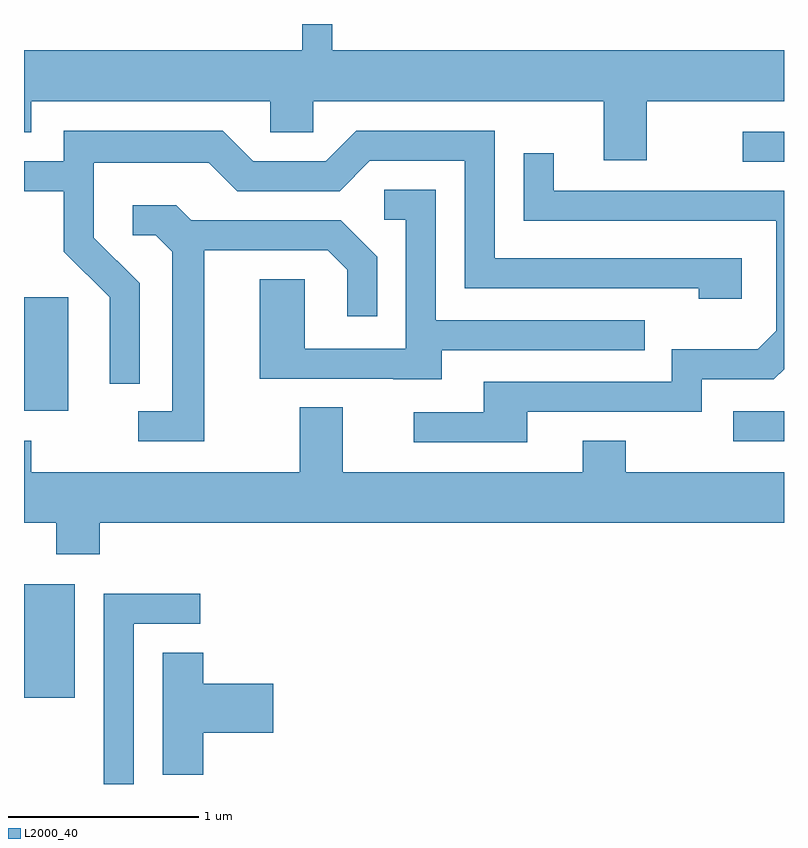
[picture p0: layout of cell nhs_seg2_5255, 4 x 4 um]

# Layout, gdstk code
import gdstk
lib = gdstk.Library(unit=1e-6, precision=1e-09)
def R(c, l, rs):  # rectangles x0, y0, x1, y1
    for r in rs: c.add(gdstk.rectangle(r[:2], r[2:], *l))
def P(c, l, *ps):  # polygons
    for p in ps: c.add(gdstk.Polygon(p, *l))
L2000_40 = (2000, 40)

nhs_seg2_5255 = lib.new_cell('nhs_seg2_5255')
R(nhs_seg2_5255, L2000_40, [(339.611,1076.256,339.879,1076.854), (343.343,1077.606,343.611,1077.764), (339.611,1077.766,339.844,1078.364), (343.393,1079.076,343.611,1079.234)])
P(nhs_seg2_5255, L2000_40, [(342.889,1079.396),(343.611,1079.396),(343.611,1079.664),(341.234,1079.664),(341.234,1079.802),(341.076,1079.802),(341.076,1079.664),(339.611,1079.664),(339.611,1079.231),(339.649,1079.231),(339.649,1079.396),(340.906,1079.396),(340.906,1079.231),(341.134,1079.231),(341.134,1079.396),(342.661,1079.396),(342.661,1079.086),(342.889,1079.086)],
  [(340.219,1078.437),(339.979,1078.677),(339.979,1079.071),(340.584,1079.071),(340.734,1078.921),(341.272,1078.921),(341.432,1079.081),(341.931,1079.081),(341.931,1078.411),(343.161,1078.411),(343.161,1078.356),(343.389,1078.356),(343.389,1078.569),(342.089,1078.569),(342.089,1079.239),(341.359,1079.239),(341.199,1079.079),(340.817,1079.079),(340.657,1079.239),(339.821,1079.239),(339.821,1079.079),(339.611,1079.079),(339.611,1078.921),(339.821,1078.921),(339.821,1078.604),(340.061,1078.364),(340.061,1077.908),(340.219,1077.908)],
  [(342.259,1077.761),(343.179,1077.761),(343.179,1077.931),(343.557,1077.931),(343.611,1077.985),(343.611,1078.924),(342.399,1078.924),(342.399,1079.123),(342.241,1079.123),(342.241,1078.766),(343.571,1078.766),(343.571,1078.187),(343.474,1078.089),(343.021,1078.089),(343.021,1077.919),(342.031,1077.919),(342.031,1077.759),(341.663,1077.759),(341.663,1077.601),(342.259,1077.601)],
  [(341.809,1078.086),(342.878,1078.086),(342.878,1078.244),(341.779,1078.244),(341.779,1078.929),(341.508,1078.929),(341.508,1078.771),(341.621,1078.771),(341.621,1078.094),(341.089,1078.094),(341.089,1078.459),(340.851,1078.459),(340.851,1077.936),(341.555,1077.936),(341.555,1077.931),(341.809,1077.931)],
  [(340.559,1078.611),(341.209,1078.611),(341.311,1078.509),(341.311,1078.263),(341.469,1078.263),(341.469,1078.577),(341.277,1078.769),(340.492,1078.769),(340.412,1078.849),(340.183,1078.849),(340.183,1078.691),(340.304,1078.691),(340.391,1078.604),(340.391,1077.764),(340.213,1077.764),(340.213,1077.606),(340.559,1077.606)],
  [(340.009,1077.176),(343.611,1077.176),(343.611,1077.444),(342.779,1077.444),(342.779,1077.609),(342.551,1077.609),(342.551,1077.444),(341.289,1077.444),(341.289,1077.784),(341.061,1077.784),(341.061,1077.444),(339.649,1077.444),(339.649,1077.609),(339.611,1077.609),(339.611,1077.176),(339.781,1077.176),(339.781,1077.011),(340.009,1077.011)],
  [(340.189,1076.646),(340.538,1076.646),(340.538,1076.804),(340.031,1076.804),(340.031,1075.802),(340.189,1075.802)],
  [(340.554,1076.071),(340.924,1076.071),(340.924,1076.329),(340.554,1076.329),(340.554,1076.494),(340.341,1076.494),(340.341,1075.851),(340.554,1075.851)])

lib.write_gds('nhs_seg2_5255.gds')
